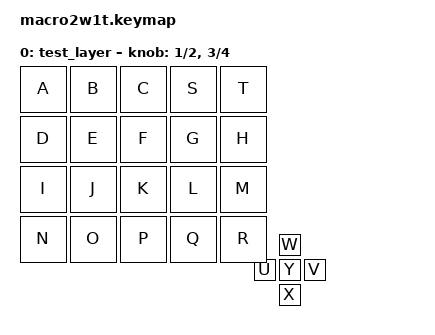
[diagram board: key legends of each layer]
#include <behaviors.dtsi>
#include <dt-bindings/zmk/keys.h>
#include <dt-bindings/zmk/bt.h>
#include <dt-bindings/zmk/outputs.h>

/ {
    keymap {
        compatible = "zmk,keymap";

        /*
         * TEST LAYER
         * Every position types a different letter so you can prove each
         * switch, both encoder pushes and all five nav directions work.
         * Open a text editor, press everything, compare with this table:
         *
         *   physical            letter
         *   -------------------------------------------
         *   top row, keys 1-3    A B C
         *   left roller push     S
         *   right roller push    T
         *   2nd row              D E F G H
         *   3rd row              I J K L M
         *   4th row              N O P Q R
         *   5-way left           U
         *   5-way right          V
         *   5-way up             W
         *   5-way down           X
         *   5-way press          Y
         *   left roller turn     1 / 2
         *   right roller turn    3 / 4
         *
         * Anything that types the wrong letter means that row/column pair
         * is swapped; anything that types nothing is an open circuit.
         * Replace this layer with real bindings once it all checks out.
         */
        test_layer {
            bindings = <
                &kp A  &kp B  &kp C  &kp S  &kp T     &kp U
                &kp D  &kp E  &kp F  &kp G  &kp H     &kp V
                &kp I  &kp J  &kp K  &kp L  &kp M     &kp W
                &kp N  &kp O  &kp P  &kp Q  &kp R     &kp X
                                                      &kp Y
            >;

            sensor-bindings = <&inc_dec_kp N1 N2 &inc_dec_kp N3 N4>;
        };
    };
};
